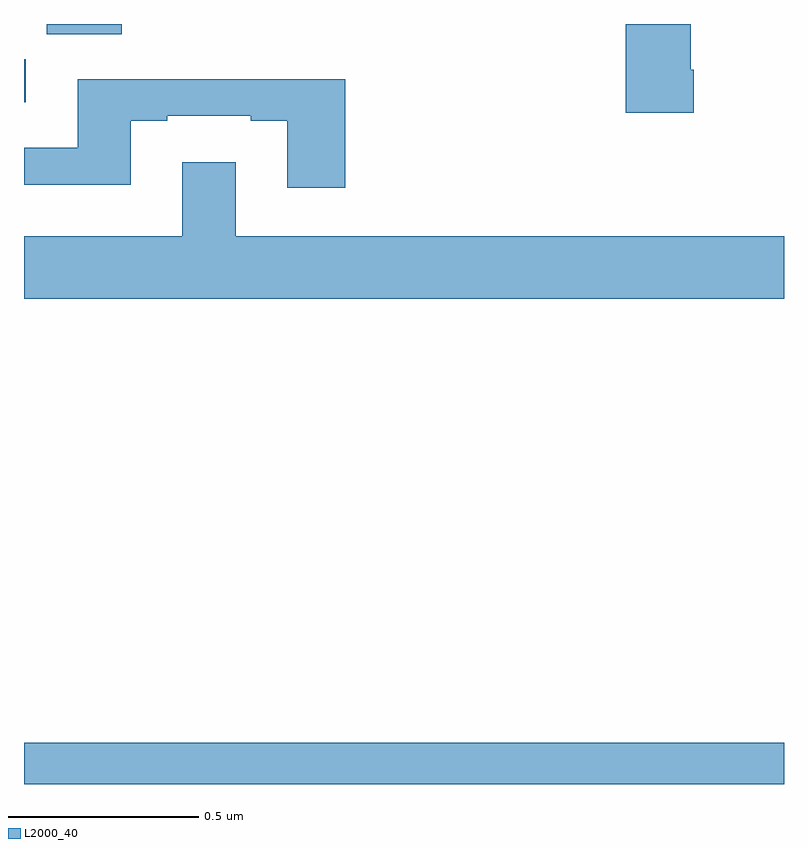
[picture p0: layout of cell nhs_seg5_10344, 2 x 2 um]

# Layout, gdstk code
import gdstk
lib = gdstk.Library(unit=1e-6, precision=1e-09)
def R(c, l, rs):  # rectangles x0, y0, x1, y1
    for r in rs: c.add(gdstk.rectangle(r[:2], r[2:], *l))
def P(c, l, *ps):  # polygons
    for p in ps: c.add(gdstk.Polygon(p, *l))
L2000_40 = (2000, 40)

nhs_seg5_10344 = lib.new_cell('nhs_seg5_10344')
R(nhs_seg5_10344, L2000_40, [(245,872.799,247,872.908), (245,874.593,245.005,874.706), (245.06,874.772,245.257,874.799)])
P(nhs_seg5_10344, L2000_40, [(246.762,874.678),(246.754,874.678),(246.754,874.799),(246.584,874.799),(246.584,874.566),(246.762,874.566)],
  [(245.846,874.654),(245.141,874.654),(245.141,874.473),(245,874.473),(245,874.376),(245.281,874.376),(245.281,874.545),(245.377,874.545),(245.377,874.557),(245.597,874.557),(245.597,874.545),(245.693,874.545),(245.693,874.368),(245.846,874.368)],
  [(247,874.24),(245.557,874.24),(245.557,874.435),(245.417,874.435),(245.417,874.24),(245,874.24),(245,874.076),(247,874.076)])

lib.write_gds('nhs_seg5_10344.gds')
